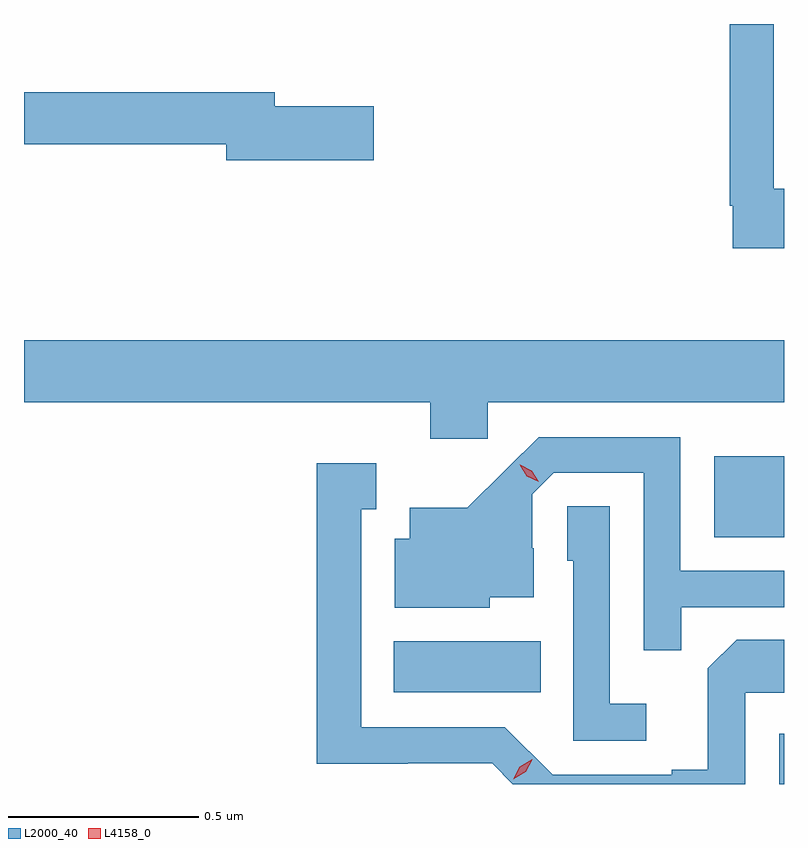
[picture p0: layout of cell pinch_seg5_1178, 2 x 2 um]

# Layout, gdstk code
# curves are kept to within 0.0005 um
import gdstk
lib = gdstk.Library(unit=1e-6, precision=1e-09)
def R(c, l, rs):  # rectangles x0, y0, x1, y1
    for r in rs: c.add(gdstk.rectangle(r[:2], r[2:], *l))
def P(c, l, *ps):  # polygons
    for p in ps: c.add(gdstk.Polygon(p, *l))
L2000_40 = (2000, 40)
L4158_0 = (4158, 0)

pinch_seg5_1178 = lib.new_cell('pinch_seg5_1178')
R(pinch_seg5_1178, L2000_40, [(774.857,841.104,774.87,841.236), (773.843,841.346,774.23,841.48), (774.686,841.754,774.87,841.966)])
P(pinch_seg5_1178, L2000_40, [(774.87,842.67),(774.843,842.67),(774.843,843.104),(774.727,843.104),(774.727,842.626),(774.735,842.626),(774.735,842.514),(774.87,842.514)],
  [(773.791,842.888),(773.53,842.888),(773.53,842.924),(772.87,842.924),(772.87,842.788),(773.402,842.788),(773.402,842.746),(773.791,842.746)],
  [(774.09,842.108),(774.87,842.108),(774.87,842.272),(772.87,842.272),(772.87,842.108),(773.939,842.108),(773.939,842.013),(774.09,842.013)],
  [(774.599,841.569),(774.87,841.569),(774.87,841.665),(774.597,841.665),(774.597,842.016),(774.224,842.016),(774.037,841.831),(773.885,841.831),(773.885,841.75),(773.846,841.75),(773.846,841.568),(774.096,841.568),(774.096,841.595),(774.211,841.595),(774.211,841.724),(774.207,841.724),(774.207,841.866),(774.264,841.923),(774.501,841.923),(774.501,841.456),(774.599,841.456)],
  [(774.768,841.344),(774.87,841.344),(774.87,841.484),(774.745,841.484),(774.669,841.408),(774.669,841.141),(774.575,841.141),(774.575,841.128),(774.261,841.128),(774.135,841.254),(773.758,841.254),(773.758,841.827),(773.797,841.827),(773.797,841.948),(773.64,841.948),(773.64,841.157),(773.88,841.157),(773.88,841.158),(774.102,841.158),(774.156,841.104),(774.768,841.104)],
  [(774.508,841.315),(774.411,841.315),(774.411,841.835),(774.3,841.835),(774.3,841.692),(774.315,841.692),(774.315,841.218),(774.508,841.218)])
P(pinch_seg5_1178, L4158_0, [(774.224,841.9),(774.193,841.914),(774.175,841.944),(774.175,841.944),(774.176,841.944),(774.206,841.929),(774.224,841.9),(774.224,841.9)],
  [(774.158,841.116),(774.158,841.117),(774.175,841.149),(774.207,841.169),(774.207,841.169),(774.207,841.168),(774.19,841.136),(774.158,841.116)])

lib.write_gds('pinch_seg5_1178.gds')
